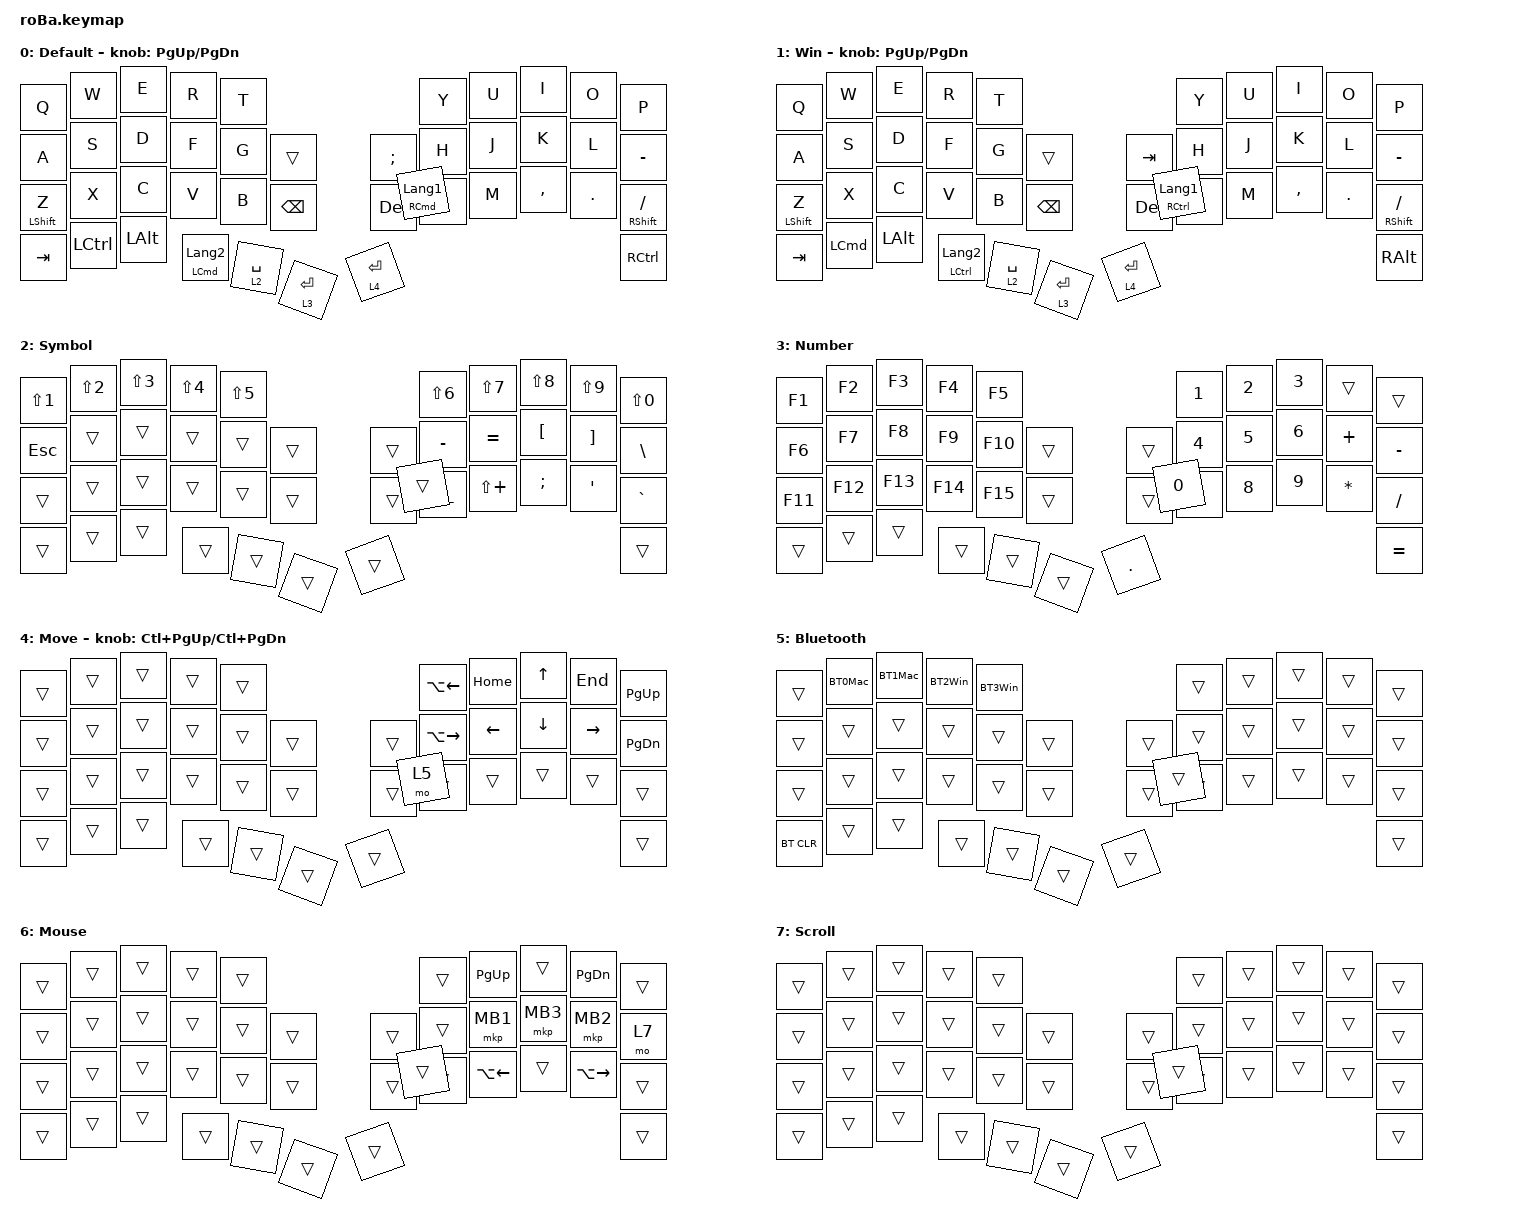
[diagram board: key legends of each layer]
#include <behaviors.dtsi>
#include <dt-bindings/zmk/bt.h>
#include <dt-bindings/zmk/keys.h>
#include <dt-bindings/zmk/pointing.h>

/* scroll-layers is set in roBa_R.overlay (dongle-less) only.
 * In dongle mode the dongle handles layer switching via input-processor-temp-layer. */

&mt {
    flavor = "balanced";
    quick-tap-ms = <0>;
};

/ {
    combos { compatible = "zmk,combos"; };

    macros {
        to_layer_0: to_layer_0 {
            compatible = "zmk,behavior-macro-one-param";
            #binding-cells = <1>;
            bindings = <&to 0 &macro_param_1to1 &kp MACRO_PLACEHOLDER>;
            label = "TO_LAYER_0";
        };

        BT0Mac: BT0Mac {
            compatible = "zmk,behavior-macro";
            #binding-cells = <0>;
            bindings = <&bt BT_SEL 0 &to 0>;
            label = "BT0MAC";
        };

        BT1Mac: BT1Mac {
            compatible = "zmk,behavior-macro";
            #binding-cells = <0>;
            bindings = <&bt BT_SEL 1 &to 0>;
            label = "BT1MAC";
        };

        BT2Win: BT2Win {
            compatible = "zmk,behavior-macro";
            #binding-cells = <0>;
            bindings = <&bt BT_SEL 2 &to 1>;
            label = "BT2WIN";
        };

        BT3Win: BT3Win {
            compatible = "zmk,behavior-macro";
            #binding-cells = <0>;
            bindings = <&bt BT_SEL 3 &to 1>;
            label = "BT3WIN";
        };
    };

    behaviors {
        lt_to_layer_0: lt_to_layer_0 {
            compatible = "zmk,behavior-hold-tap";
            label = "LAYER_TAP_TO_0";
            bindings = <&mo>, <&to_layer_0>;

            #binding-cells = <2>;
            tapping-term-ms = <200>;
        };
    };

    keymap {
        compatible = "zmk,keymap";

        mac {
            label = "Default";
            bindings = <
&kp Q             &kp W             &kp E         &kp R                        &kp T                                        &kp Y                         &kp U  &kp I      &kp O    &kp P
&kp A             &kp S             &kp D         &kp F                        &kp G        &trans             &kp SEMI     &kp H                         &kp J  &kp K      &kp L    &kp MINUS
&mt LEFT_SHIFT Z  &kp X             &kp C         &kp V                        &kp B        &kp BACKSPACE      &kp DELETE   &kp N                         &kp M  &kp COMMA  &kp DOT  &mt RIGHT_SHIFT SLASH
&kp TAB           &kp LEFT_CONTROL  &kp LEFT_ALT  &mt LEFT_COMMAND LANGUAGE_2  &lt 2 SPACE  &lt 3 ENTER        &lt 4 ENTER  &mt RIGHT_COMMAND LANGUAGE_1                             &kp RIGHT_CONTROL
            >;

            sensor-bindings = <&inc_dec_kp PG_UP PAGE_DOWN>;
        };

        win {
            label = "Win";
            bindings = <
&kp Q             &kp W             &kp E         &kp R                        &kp T                                        &kp Y                         &kp U  &kp I      &kp O    &kp P
&kp A             &kp S             &kp D         &kp F                        &kp G        &trans             &kp TAB      &kp H                         &kp J  &kp K      &kp L    &kp MINUS
&mt LEFT_SHIFT Z  &kp X             &kp C         &kp V                        &kp B        &kp BACKSPACE      &kp DELETE   &kp N                         &kp M  &kp COMMA  &kp DOT  &mt RIGHT_SHIFT SLASH
&kp TAB           &kp LEFT_COMMAND  &kp LEFT_ALT  &mt LEFT_CONTROL LANGUAGE_2  &lt 2 SPACE  &lt 3 ENTER        &lt 4 ENTER  &mt RIGHT_CONTROL LANGUAGE_1                             &kp RIGHT_ALT
            >;

            sensor-bindings = <&inc_dec_kp PG_UP PAGE_DOWN>;
        };

        symbol {
            label = "Symbol";
            bindings = <
&kp LS(NUMBER_1)  &kp LS(NUMBER_2)  &kp LS(NUMBER_3)  &kp LS(NUMBER_4)  &kp LS(NUMBER_5)                      &kp LS(NUMBER_6)  &kp LS(NUMBER_7)  &kp LS(NUMBER_8)  &kp LS(N9)  &kp LS(N0)
&kp ESC           &trans            &trans            &trans            &trans            &trans      &trans  &kp MINUS         &kp EQUAL         &kp LBKT          &kp RBKT    &kp BSLH
&trans            &trans            &trans            &trans            &trans            &trans      &trans  &kp LS(UNDER)     &kp LS(PLUS)      &kp SEMI          &kp APOS    &kp GRAVE
&trans            &trans            &trans            &trans            &trans            &trans      &trans  &trans                                                            &trans
            >;
        };

        number {
            label = "Number";
            bindings = <
&kp F1   &kp F2   &kp F3   &kp F4   &kp F5                        &kp N1  &kp N2  &kp N3  &trans     &trans
&kp F6   &kp F7   &kp F8   &kp F9   &kp F10  &trans      &trans   &kp N4  &kp N5  &kp N6  &kp PLUS   &kp MINUS
&kp F11  &kp F12  &kp F13  &kp F14  &kp F15  &trans      &trans   &kp N7  &kp N8  &kp N9  &kp ASTRK  &kp FSLH
&trans   &trans   &trans   &trans   &trans   &trans      &kp DOT  &kp N0                             &kp EQUAL
            >;
        };

        move {
            label = "Move";
            bindings = <
&trans  &trans  &trans  &trans  &trans                      &kp LA(LEFT)   &kp HOME  &kp UP    &kp END    &kp PG_UP
&trans  &trans  &trans  &trans  &trans  &trans      &trans  &kp LA(RIGHT)  &kp LEFT  &kp DOWN  &kp RIGHT  &kp PG_DN
&trans  &trans  &trans  &trans  &trans  &trans      &trans  &trans         &trans    &trans    &trans     &trans
&trans  &trans  &trans  &trans  &trans  &trans      &trans  &mo 5                                         &trans
            >;

            sensor-bindings = <&inc_dec_kp LC(PAGE_UP) LC(PAGE_DOWN)>;
        };

        bluetooth {
            label = "Bluetooth";
            bindings = <
&trans      &BT0Mac  &BT1Mac  &BT2Win  &BT3Win                      &trans  &trans  &trans  &trans  &trans
&trans      &trans   &trans   &trans   &trans   &trans      &trans  &trans  &trans  &trans  &trans  &trans
&trans      &trans   &trans   &trans   &trans   &trans      &trans  &trans  &trans  &trans  &trans  &trans
&bt BT_CLR  &trans   &trans   &trans   &trans   &trans      &trans  &trans                          &trans
            >;
        };

        MOUSE {
            label = "Mouse";
            bindings = <
&trans  &trans  &trans  &trans  &trans                      &trans  &kp PAGE_UP   &trans    &kp PAGE_DOWN  &trans
&trans  &trans  &trans  &trans  &trans  &trans      &trans  &trans  &mkp MB1      &mkp MB3  &mkp MB2       &mo 7
&trans  &trans  &trans  &trans  &trans  &trans      &trans  &trans  &kp LA(LEFT)  &trans    &kp LA(RIGHT)  &trans
&trans  &trans  &trans  &trans  &trans  &trans      &trans  &trans                                         &trans
            >;
        };

        SCROLL {
            label = "Scroll";
            bindings = <
&trans  &trans  &trans  &trans  &trans                      &trans  &trans  &trans  &trans  &trans
&trans  &trans  &trans  &trans  &trans  &trans      &trans  &trans  &trans  &trans  &trans  &trans
&trans  &trans  &trans  &trans  &trans  &trans      &trans  &trans  &trans  &trans  &trans  &trans
&trans  &trans  &trans  &trans  &trans  &trans      &trans  &trans                          &trans
            >;
        };
    };
};
